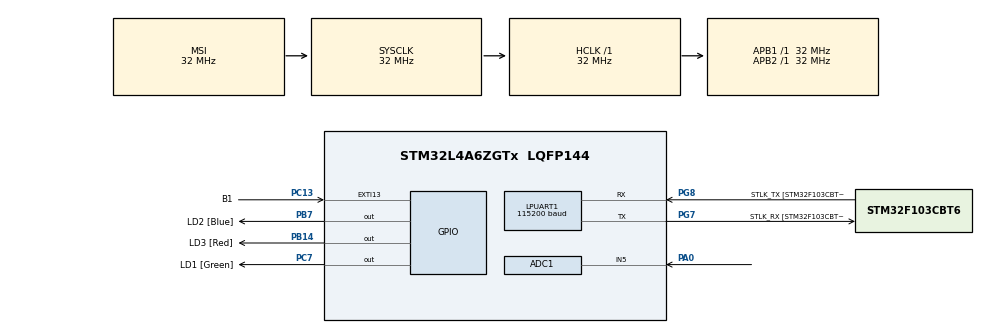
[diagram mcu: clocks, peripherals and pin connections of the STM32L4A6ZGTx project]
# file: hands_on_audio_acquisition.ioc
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ADC1.Channel-0\#ChannelRegularConversion=ADC_CHANNEL_5
ADC1.DMAContinuousRequests=ENABLE
ADC1.ExternalTrigConv=ADC_EXTERNALTRIG_T3_TRGO
ADC1.NbrOfConversionFlag=1
ADC1.OffsetNumber-0\#ChannelRegularConversion=ADC_OFFSET_NONE
ADC1.Rank-0\#ChannelRegularConversion=1
ADC1.SamplingTime-0\#ChannelRegularConversion=ADC_SAMPLETIME_2CYCLES_5
ADC1.master=1
Dma.ADC1.0.Direction=DMA_PERIPH_TO_MEMORY
Dma.ADC1.0.Instance=DMA1_Channel1
Dma.ADC1.0.MemDataAlignment=DMA_MDATAALIGN_HALFWORD
Dma.ADC1.0.MemInc=DMA_MINC_ENABLE
Dma.ADC1.0.Mode=DMA_CIRCULAR
Dma.ADC1.0.PeriphDataAlignment=DMA_PDATAALIGN_HALFWORD
Dma.ADC1.0.PeriphInc=DMA_PINC_DISABLE
Dma.ADC1.0.Priority=DMA_PRIORITY_LOW
Dma.Request0=ADC1
LPUART1.AutoBaudRateEnableParam=UART_ADVFEATURE_AUTOBAUDRATE_DISABLE
LPUART1.BaudRate=115200
LPUART1.DMADisableonRxErrorParam=UART_ADVFEATURE_DMA_ENABLEONRXERROR
LPUART1.DataInvertParam=UART_ADVFEATURE_DATAINV_DISABLE
LPUART1.MSBFirstParam=UART_ADVFEATURE_MSBFIRST_DISABLE
LPUART1.Mode=UART_MODE_TX_RX
LPUART1.OneBitSampling=UART_ONE_BIT_SAMPLE_DISABLE
LPUART1.OverrunDisableParam=UART_ADVFEATURE_OVERRUN_ENABLE
LPUART1.Parity=UART_PARITY_NONE
LPUART1.RxPinLevelInvertParam=UART_ADVFEATURE_RXINV_DISABLE
LPUART1.StopBits=UART_STOPBITS_1
LPUART1.SwapParam=UART_ADVFEATURE_SWAP_DISABLE
LPUART1.TxPinLevelInvertParam=UART_ADVFEATURE_TXINV_DISABLE
LPUART1.WordLength=UART_WORDLENGTH_8B
Mcu.Family=STM32L4
Mcu.Name=STM32L4A6ZGTx
Mcu.Package=LQFP144
NVIC.ADC1_2_IRQn=true\:0\:0\:false\:false\:true\:true\:true\:true
NVIC.DMA1_Channel1_IRQn=true\:0\:0\:false\:false\:true\:false\:true\:true
NVIC.EXTI15_10_IRQn=true\:0\:0\:false\:false\:true\:true\:true\:true
NVIC.PriorityGroup=NVIC_PRIORITYGROUP_4
NVIC.TIM3_IRQn=true\:0\:0\:false\:false\:true\:true\:true\:true
PA0.Signal=ADCx_IN5
PA13\ (JTMS/SWDIO).GPIO_Label=TMS
PA13\ (JTMS/SWDIO).Mode=Trace_Asynchronous_SW
PA13\ (JTMS/SWDIO).Signal=SYS_JTMS-SWDIO
PA14\ (JTCK/SWCLK).GPIO_Label=TCK
PA14\ (JTCK/SWCLK).Mode=Trace_Asynchronous_SW
PA14\ (JTCK/SWCLK).Signal=SYS_JTCK-SWCLK
PB14.GPIO_Label=LD3 [Red]
PB14.Signal=GPIO_Output
PB3\ (JTDO/TRACESWO).GPIO_Label=SWO
PB3\ (JTDO/TRACESWO).Mode=Trace_Asynchronous_SW
PB3\ (JTDO/TRACESWO).Signal=SYS_JTDO-SWO
PB7.GPIO_Label=LD2 [Blue]
PB7.Signal=GPIO_Output
PC13.GPIO_Label=B1
PC13.Signal=GPXTI13
PC14-OSC32_IN\ (PC14).Mode=LSE-External-Oscillator
PC14-OSC32_IN\ (PC14).Signal=RCC_OSC32_IN
PC15-OSC32_OUT\ (PC15).Mode=LSE-External-Oscillator
PC15-OSC32_OUT\ (PC15).Signal=RCC_OSC32_OUT
PC7.GPIO_Label=LD1 [Green]
PC7.Signal=GPIO_Output
PG7.GPIO_Label=STLK_RX [STM32F103CBT6_PA3]
PG7.Mode=Asynchronous
PG7.Signal=LPUART1_TX
PG8.GPIO_Label=STLK_TX [STM32F103CBT6_PA2]
PG8.Mode=Asynchronous
PG8.Signal=LPUART1_RX
PH1-OSC_OUT\ (PH1).Signal=RCC_OSC_OUT
ProjectManager.HeapSize=0x200
ProjectManager.StackSize=0x400
ProjectManager.TargetToolchain=STM32CubeIDE
RCC.ADCCLockSelection=RCC_ADCCLKSOURCE_SYSCLK
RCC.ADCFreq_Value=32000000
RCC.AHBFreq_Value=32000000
RCC.APB1Freq_Value=32000000
RCC.APB1TimFreq_Value=32000000
RCC.APB2Freq_Value=32000000
RCC.APB2TimFreq_Value=32000000
RCC.CortexFreq_Value=32000000
RCC.FLatency=FLASH_LATENCY_1
RCC.HCLKFreq_Value=32000000
RCC.HSE_VALUE=8000000
RCC.HSI48_VALUE=48000000
RCC.HSI_VALUE=16000000
RCC.MSIClockRange=RCC_MSIRANGE_10
RCC.MSI_VALUE=32000000
RCC.PLLN=71
RCC.PLLR=RCC_PLLR_DIV6
RCC.PLLSAI1N=24
RCC.SYSCLKFreq_VALUE=32000000
RCC.USBFreq_Value=384000000
RCC.VCOOutputFreq_Value=2272000000
SH.ADCx_IN5.0=ADC1_IN5,IN5-Single-Ended
TIM3.Period=195
TIM3.Prescaler=15
TIM3.TIM_MasterOutputTrigger=TIM_TRGO_UPDATE
VP_TIM3_VS_ClockSourceINT.Mode=Internal
board=NUCLEO-L4A6ZG

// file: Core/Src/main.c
/* USER CODE BEGIN Header */
/**
  ******************************************************************************
  * @file           : main.c
  * @brief          : Main program body
  ******************************************************************************
  * @attention
  *
  * <h2><center>&copy; Copyright (c) 2021 STMicroelectronics.
  * All rights reserved.</center></h2>
  *
  * This software component is licensed by ST under BSD 3-Clause license,
  * the "License"; You may not use this file except in compliance with the
  * License. You may obtain a copy of the License at:
  *                        opensource.org/licenses/BSD-3-Clause
  *
  ******************************************************************************
  */
/* USER CODE END Header */
#include "main.h"
#include "adc.h"
#include "dma.h"
#include "usart.h"
#include "tim.h"
#include "gpio.h"

/* USER CODE BEGIN Includes */
#include <stdio.h>
#include "retarget.h"
/* USER CODE END Includes */

/* USER CODE BEGIN PD */
#define ADC_BUF_SIZE 21000
/* USER CODE END PD */

/* USER CODE BEGIN PV */
volatile int state;
volatile uint16_t ADCBuffer[ADC_BUF_SIZE]; /* ADC group regular conversion data (array of data) */
volatile uint16_t* ADCData1;
volatile uint16_t* ADCData2;
uint16_t STATE = 0;

char hex_encoded_buffer[4*ADC_BUF_SIZE+1];
/* USER CODE END PV */

void SystemClock_Config(void);
/* USER CODE BEGIN PFP */
void hex_encode(char* s, const uint8_t* buf, size_t len);
void print_buffer(uint16_t *buffer);
uint32_t get_signal_power(uint16_t *buffer, size_t len);
/* USER CODE END PFP */

/* USER CODE BEGIN 0 */
void HAL_ADC_ConvCpltCallback(ADC_HandleTypeDef *hadc){

  /*for (size_t i = 0; i < ADC_BUF_SIZE; i++)
  {
    printf("%u\t", ADCBuffer[i]);
  }*/
  HAL_TIM_Base_Stop(&htim3);
  HAL_ADC_Stop_DMA(&hadc1);
  HAL_GPIO_WritePin(LD2_GPIO_Port, LD2_Pin, GPIO_PIN_SET);
  printf("buffer size : %d\t%d\n", (sizeof(ADCBuffer) / sizeof(ADCBuffer[0])),(sizeof(uint16_t)/sizeof(char)));
  print_buffer((uint16_t*) ADCBuffer);
  //print_buffer((uint16_t*) ADCData2);
  HAL_GPIO_WritePin(LD2_GPIO_Port, LD2_Pin, GPIO_PIN_RESET);
  //printf("here\n");
  //print_buffer((uint16_t*) ADCData2);

}

void HAL_ADC_ConvHalfCpltCallback(ADC_HandleTypeDef *hadc){
  //HAL_TIM_Base_Stop(&htim3);
  /*for (size_t i = 0; i < ADC_BUF_SIZE; i++)
  {
	printf("%u\t", ADCBuffer[i]);
  }*/
  //printf("halfcompleted\n");
  //print_buffer((uint16_t*) ADCData1);
}

void Start_recording(){
	HAL_TIM_Base_Start(&htim3);
	HAL_ADC_Start_DMA(&hadc1, (uint32_t*) ADCBuffer, ADC_BUF_SIZE);
}

void HAL_GPIO_EXTI_Callback(uint16_t GPIO_Pin) {
	if (GPIO_Pin == B1_Pin) {
		state = 1-state;
		/*HAL_ADC_Start(&hadc1);
		uint32_t rep;
		if (HAL_ADC_PollForConversion(&hadc1, 0xFFFF) == HAL_OK){
			rep = HAL_ADC_GetValue(&hadc1);
		}
		HAL_ADC_Stop(&hadc1);
		printf("%u \n", rep);*/
		Start_recording();
	}
}

void hex_encode(char* s, const uint8_t* buf, size_t len) {
    s[2*len] = '\0'; // A string terminated by a zero char.
    for (size_t i=0; i<len; i++) {
        s[i*2] = "0123456789abcdef"[buf[i] >> 4]; //converstion en hexadecimel des 4bits de poids forts
        s[i*2+1] = "0123456789abcdef"[buf[i] & 0xF]; // convertion des 4 bits de poids faible (and 00001111)
    }
    /*
     * Stock sous la forme hexa don 1 lettre représente 4 bit, 2 lettre pour 8 bits
     * 4lettre pour les 16bits
     * 4*taille de départ
     * faire gaffe uint_8 cast en unt 16
     */
}

void print_buffer(uint16_t *buffer) {
	hex_encode(hex_encoded_buffer, (uint8_t*)buffer, 2*ADC_BUF_SIZE);
	printf("SND:HEX:%s\r\n", hex_encoded_buffer);
}

uint32_t get_signal_power(uint16_t *buffer, size_t len){
	uint64_t sum = 0;
	uint64_t sum2 = 0;
	for (size_t i=0; i<len; i++) {
		sum += (uint64_t) buffer[i];
		sum2 += (uint64_t) buffer[i]*(uint64_t) buffer[i];
	}
	return (uint32_t)(sum2/len - sum*sum/len/len);
}
/* USER CODE END 0 */

int main(void)
{

  /* MCU Configuration--------------------------------------------------------*/

  /* Reset of all peripherals, Initializes the Flash interface and the Systick. */
  HAL_Init();

  /* Configure the system clock */
  SystemClock_Config();

  /* Initialize all configured peripherals */
  MX_GPIO_Init();
  MX_DMA_Init();
  MX_LPUART1_UART_Init();
  MX_ADC1_Init();
  MX_TIM3_Init();
  /* USER CODE BEGIN 2 */
  RetargetInit(&hlpuart1);
  printf("Hello world!\r\n");
  state=0;
  ADCData1 = &ADCBuffer[0];
  ADCData2 = &ADCBuffer[ADC_BUF_SIZE];
  /* USER CODE END 2 */

  /* Infinite loop */
  /* USER CODE BEGIN WHILE */
  while (1)
  {
	/*HAL_GPIO_WritePin(LD2_GPIO_Port, LD2_Pin, GPIO_PIN_SET);
	HAL_Delay(500);
	HAL_GPIO_WritePin(LD2_GPIO_Port, LD2_Pin, GPIO_PIN_RESET);
	HAL_Delay(500);*/
	  __WFI();
    /* USER CODE END WHILE */

  }
}

void SystemClock_Config(void)
{
  RCC_OscInitTypeDef RCC_OscInitStruct = {0};
  RCC_ClkInitTypeDef RCC_ClkInitStruct = {0};

  /** Configure the main internal regulator output voltage
  */
  if (HAL_PWREx_ControlVoltageScaling(PWR_REGULATOR_VOLTAGE_SCALE1) != HAL_OK)
  {
    Error_Handler();
  }

  /** Initializes the RCC Oscillators according to the specified parameters
  * in the RCC_OscInitTypeDef structure.
  */
  RCC_OscInitStruct.OscillatorType = RCC_OSCILLATORTYPE_MSI;
  RCC_OscInitStruct.MSIState = RCC_MSI_ON;
  RCC_OscInitStruct.MSICalibrationValue = 0;
  RCC_OscInitStruct.MSIClockRange = RCC_MSIRANGE_10;
  RCC_OscInitStruct.PLL.PLLState = RCC_PLL_NONE;
  if (HAL_RCC_OscConfig(&RCC_OscInitStruct) != HAL_OK)
  {
    Error_Handler();
  }

  /** Initializes the CPU, AHB and APB buses clocks
  */
  RCC_ClkInitStruct.ClockType = RCC_CLOCKTYPE_HCLK|RCC_CLOCKTYPE_SYSCLK
                              |RCC_CLOCKTYPE_PCLK1|RCC_CLOCKTYPE_PCLK2;
  RCC_ClkInitStruct.SYSCLKSource = RCC_SYSCLKSOURCE_MSI;
  RCC_ClkInitStruct.AHBCLKDivider = RCC_SYSCLK_DIV1;
  RCC_ClkInitStruct.APB1CLKDivider = RCC_HCLK_DIV1;
  RCC_ClkInitStruct.APB2CLKDivider = RCC_HCLK_DIV1;

  if (HAL_RCC_ClockConfig(&RCC_ClkInitStruct, FLASH_LATENCY_1) != HAL_OK)
  {
    Error_Handler();
  }
}

void Error_Handler(void)
{
  __disable_irq();
  while (1)
  {
  }
}
